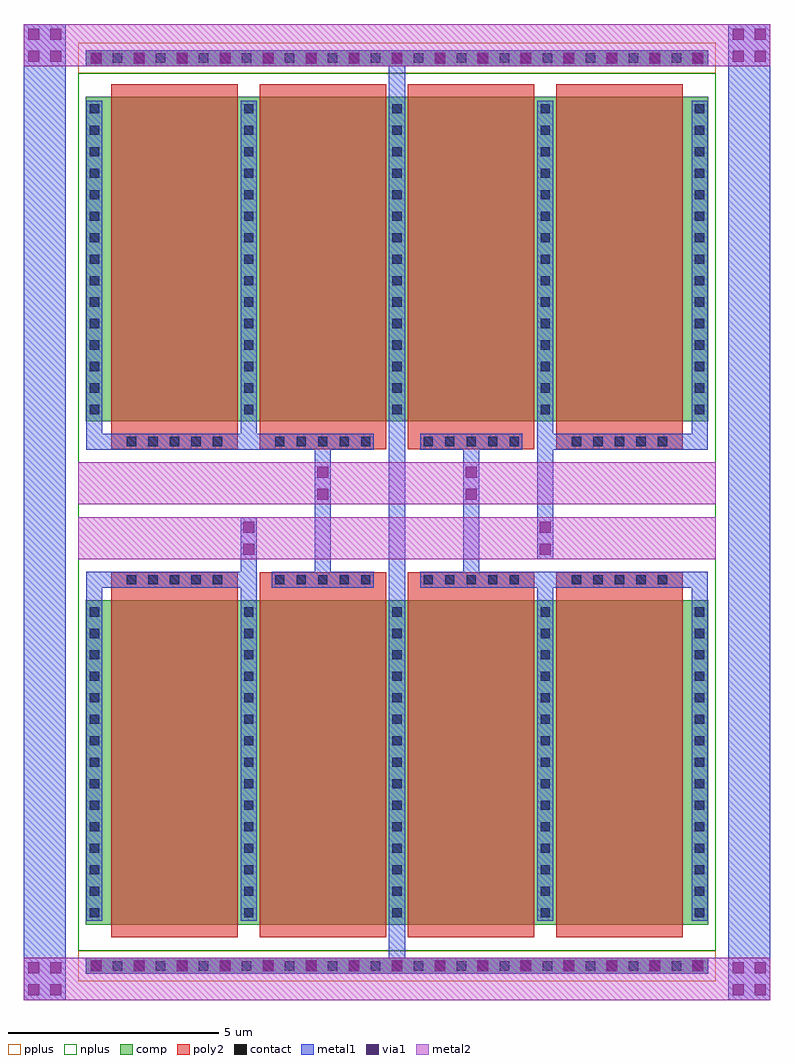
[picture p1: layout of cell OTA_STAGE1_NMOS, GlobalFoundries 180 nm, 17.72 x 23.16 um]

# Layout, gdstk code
import gdstk
lib = gdstk.Library(unit=1e-6, precision=5e-09)
def R(c, l, rs):  # rectangles x0, y0, x1, y1
    for r in rs: c.add(gdstk.rectangle(r[:2], r[2:], *l))
def A(c, l, x, y, w, h, nx, ny, dx, dy):  # array of equal rectangles
    R(c, l, [(x+i*dx, y+j*dy, x+i*dx+w, y+j*dy+h) for i in range(nx) for j in range(ny)])
comp = (22, 0)
poly2 = (30, 0)
pplus = (31, 0)
nplus = (32, 0)
contact = (33, 0)
metal1 = (34, 0)
via1 = (35, 0)
metal2 = (36, 0)

nfet_3 = lib.new_cell('nfet$3')
R(nfet_3, comp, [(-0.42,0,0,7.7), (0,0,13.94,7.7), (13.94,0,14.36,7.7)])
A(nfet_3, poly2, 0.19, -0.3, 3, 8.3, 4, 1, 3.52, 0)
A(nfet_3, poly2, 0.19, 8, 3, 0.36, 4, 1, 3.52, 0)
R(nfet_3, nplus, [(-0.59,-0.24,14.53,7.94)])
A(nfet_3, contact, -0.32, 0.17, 0.22, 0.22, 1, 15, 0, 0.51)
A(nfet_3, contact, 3.34, 0.17, 0.22, 0.22, 3, 15, 3.52, 0.51)
A(nfet_3, contact, 14.04, 0.17, 0.22, 0.22, 1, 15, 0, 0.51)
A(nfet_3, contact, 0.56, 8.07, 0.22, 0.22, 5, 1, 0.51, 0)
A(nfet_3, contact, 4.08, 8.07, 0.22, 0.22, 5, 1, 0.51, 0)
A(nfet_3, contact, 7.6, 8.07, 0.22, 0.22, 5, 1, 0.51, 0)
A(nfet_3, contact, 11.12, 8.07, 0.22, 0.22, 5, 1, 0.51, 0)
A(nfet_3, metal1, 3.26, 0.09, 0.38, 7.52, 3, 1, 3.52, 0)
A(nfet_3, metal1, 0.48, 7.99, 2.42, 0.38, 4, 1, 3.52, 0)
R(nfet_3, metal1, [(-0.4,0.09,-0.02,7.61), (13.96,0.09,14.34,7.61)])

nfet_1 = lib.new_cell('nfet$1')
R(nfet_1, comp, [(-0.42,0,0,7.7), (0,0,13.94,7.7), (13.94,0,14.36,7.7)])
A(nfet_1, poly2, 0.19, -0.66, 3, 0.36, 4, 1, 3.52, 0)
A(nfet_1, poly2, 0.19, -0.3, 3, 8.3, 4, 1, 3.52, 0)
R(nfet_1, nplus, [(-0.59,-0.24,14.53,7.94)])
A(nfet_1, contact, 0.56, -0.59, 0.22, 0.22, 5, 1, 0.51, 0)
A(nfet_1, contact, 4.08, -0.59, 0.22, 0.22, 5, 1, 0.51, 0)
A(nfet_1, contact, 7.6, -0.59, 0.22, 0.22, 5, 1, 0.51, 0)
A(nfet_1, contact, 11.12, -0.59, 0.22, 0.22, 5, 1, 0.51, 0)
A(nfet_1, contact, -0.32, 0.17, 0.22, 0.22, 1, 15, 0, 0.51)
A(nfet_1, contact, 3.34, 0.17, 0.22, 0.22, 3, 15, 3.52, 0.51)
A(nfet_1, contact, 14.04, 0.17, 0.22, 0.22, 1, 15, 0, 0.51)
A(nfet_1, metal1, 0.48, -0.67, 2.42, 0.38, 4, 1, 3.52, 0)
A(nfet_1, metal1, 3.26, 0.09, 0.38, 7.52, 3, 1, 3.52, 0)
R(nfet_1, metal1, [(-0.4,0.09,-0.02,7.61), (13.96,0.09,14.34,7.61)])

ota_stage1_nmos = lib.new_cell('OTA_STAGE1_NMOS')
R(ota_stage1_nmos, nplus, [(16.305,13.205,31.425,34.025)])
A(ota_stage1_nmos, contact, 16.615, 12.735, 0.22, 0.22, 29, 2, 0.51, 21.54)
A(ota_stage1_nmos, via1, 16.595, 12.715, 0.26, 0.26, 15, 2, 1.02, 21.54)
R(ota_stage1_nmos, via1, [(15.115,12.145,15.375,12.405), (15.635,12.145,15.895,12.405), (31.835,12.145,32.095,12.405), (32.355,12.145,32.615,12.405), (15.115,12.665,15.375,12.925), (15.635,12.665,15.895,12.925), (31.835,12.665,32.095,12.925), (32.355,12.665,32.615,12.925), (20.215,22.605,20.475,22.865), (27.255,22.605,27.515,22.865), (20.215,23.125,20.475,23.385), (27.255,23.125,27.515,23.385), (21.975,23.905,22.235,24.165), (25.495,23.905,25.755,24.165), (21.975,24.425,22.235,24.685), (25.495,24.425,25.755,24.685), (15.115,34.305,15.375,34.565), (15.635,34.305,15.895,34.565), (31.835,34.305,32.095,34.565), (32.355,34.305,32.615,34.565), (15.115,34.825,15.375,35.085), (15.635,34.825,15.895,35.085), (31.835,34.825,32.095,35.085), (32.355,34.825,32.615,35.085)])
ota_stage1_nmos.add(gdstk.FlexPath([(32.225,12.035),(32.225,35.195),(32.225,35.195)], 1, ends="flush", simple_path=True, layer=34, datatype=0))  # metal1
ota_stage1_nmos.add(gdstk.FlexPath([(15.505,12.035),(15.505,35.195),(15.505,35.195)], 1, ends="flush", simple_path=True, layer=34, datatype=0))  # metal1
ota_stage1_nmos.add(gdstk.FlexPath([(20.345,25.855),(20.345,25.285),(20.895,25.285)], 0.38, ends="flush", simple_path=True, layer=34, datatype=0))  # metal1
ota_stage1_nmos.add(gdstk.FlexPath([(27.385,21.435),(27.385,22.005),(26.835,22.005)], 0.38, ends="flush", simple_path=True, layer=34, datatype=0))  # metal1
ota_stage1_nmos.add(gdstk.FlexPath([(27.385,25.855),(27.385,22.495)], 0.38, ends="flush", simple_path=True, layer=34, datatype=0))  # metal1
ota_stage1_nmos.add(gdstk.FlexPath([(20.345,21.435),(20.345,23.495)], 0.38, ends="flush", simple_path=True, layer=34, datatype=0))  # metal1
ota_stage1_nmos.add(gdstk.FlexPath([(31.045,25.855),(31.045,25.285),(30.355,25.285)], 0.38, ends="flush", simple_path=True, layer=34, datatype=0))  # metal1
ota_stage1_nmos.add(gdstk.FlexPath([(27.935,25.285),(27.195,25.285)], 0.38, ends="flush", simple_path=True, layer=34, datatype=0))  # metal1
ota_stage1_nmos.add(gdstk.FlexPath([(31.045,21.435),(31.045,22.005),(30.355,22.005)], 0.38, ends="flush", simple_path=True, layer=34, datatype=0))  # metal1
ota_stage1_nmos.add(gdstk.FlexPath([(27.935,22.005),(27.195,22.005)], 0.38, ends="flush", simple_path=True, layer=34, datatype=0))  # metal1
ota_stage1_nmos.add(gdstk.FlexPath([(16.685,21.435),(16.685,22.005),(17.375,22.005)], 0.38, ends="flush", simple_path=True, layer=34, datatype=0))  # metal1
ota_stage1_nmos.add(gdstk.FlexPath([(16.685,25.855),(16.685,25.285),(17.375,25.285)], 0.38, ends="flush", simple_path=True, layer=34, datatype=0))  # metal1
ota_stage1_nmos.add(gdstk.FlexPath([(19.795,25.285),(20.535,25.285)], 0.38, ends="flush", simple_path=True, layer=34, datatype=0))  # metal1
ota_stage1_nmos.add(gdstk.FlexPath([(19.795,22.005),(20.535,22.005)], 0.38, ends="flush", simple_path=True, layer=34, datatype=0))  # metal1
ota_stage1_nmos.add(gdstk.FlexPath([(22.105,22.195),(22.105,25.095)], 0.38, ends="flush", simple_path=True, layer=34, datatype=0))  # metal1
ota_stage1_nmos.add(gdstk.FlexPath([(25.625,25.095),(25.625,22.195)], 0.38, ends="flush", simple_path=True, layer=34, datatype=0))  # metal1
ota_stage1_nmos.add(gdstk.FlexPath([(23.865,25.855),(23.865,21.435)], 0.38, ends="flush", simple_path=True, layer=34, datatype=0))  # metal1
ota_stage1_nmos.add(gdstk.FlexPath([(16.475,34.385),(31.255,34.385)], 0.38, ends="flush", simple_path=True, layer=34, datatype=0))  # metal1
ota_stage1_nmos.add(gdstk.FlexPath([(16.475,12.845),(31.255,12.845)], 0.38, ends="flush", simple_path=True, layer=34, datatype=0))  # metal1
ota_stage1_nmos.add(gdstk.FlexPath([(23.865,13.915),(23.865,12.655)], 0.38, ends="flush", simple_path=True, layer=34, datatype=0))  # metal1
ota_stage1_nmos.add(gdstk.FlexPath([(23.865,33.375),(23.865,34.575)], 0.38, ends="flush", simple_path=True, layer=34, datatype=0))  # metal1
ota_stage1_nmos.add(gdstk.FlexPath([(16.475,34.385),(31.255,34.385),(31.255,34.385)], 0.38, ends="flush", simple_path=True, layer=22, datatype=0))  # comp
ota_stage1_nmos.add(gdstk.FlexPath([(16.475,12.845),(31.255,12.845),(31.255,12.845)], 0.38, ends="flush", simple_path=True, layer=22, datatype=0))  # comp
ota_stage1_nmos.add(gdstk.FlexPath([(16.305,34.385),(31.425,34.385)], 0.72, ends="flush", simple_path=True, layer=31, datatype=0))  # pplus
ota_stage1_nmos.add(gdstk.FlexPath([(16.305,12.845),(31.425,12.845)], 0.72, ends="flush", simple_path=True, layer=31, datatype=0))  # pplus
ota_stage1_nmos.add(gdstk.FlexPath([(15.005,34.695),(32.725,34.695)], 1, ends="flush", simple_path=True, layer=36, datatype=0))  # metal2
ota_stage1_nmos.add(gdstk.FlexPath([(15.005,12.535),(32.725,12.535)], 1, ends="flush", simple_path=True, layer=36, datatype=0))  # metal2
ota_stage1_nmos.add(gdstk.FlexPath([(16.305,22.995),(31.425,22.995)], 1, ends="flush", simple_path=True, layer=36, datatype=0))  # metal2
ota_stage1_nmos.add(gdstk.FlexPath([(16.305,24.295),(31.425,24.295)], 1, ends="flush", simple_path=True, layer=36, datatype=0))  # metal2
ota_stage1_nmos.add(gdstk.Reference(nfet_3, (16.895,13.825)))
ota_stage1_nmos.add(gdstk.Reference(nfet_1, (16.895,25.765)))

lib.write_gds('OTA_STAGE1_NMOS.gds')
